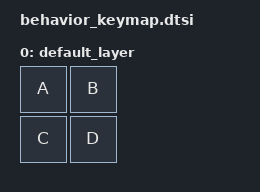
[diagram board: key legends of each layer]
#include <dt-bindings/zmk/keys.h>
#include <behaviors.dtsi>
#include <dt-bindings/zmk/kscan_mock.h>

/ {
    chosen {
        zmk,haptic = &haptic_drv;
    };

    /* Mock I2C bus for DRV2605 */
    test_i2c: test_i2c@1000 {
        compatible = "zephyr,i2c-emul-controller";
        reg = <0x1000 0x100>;
        clock-frequency = <100000>;
        #address-cells = <1>;
        #size-cells = <0>;

        haptic_drv: haptic@5a {
            compatible = "ti,drv2605";
            reg = <0x5a>;
            enable-gpios = <&test_gpio 6 GPIO_ACTIVE_HIGH>;
            library = <6>;  /* LRA library */
            actuator-type = <1>;  /* LRA */
            rated-voltage = <2000>;  /* 2V */
            overdrive-voltage = <2500>;  /* 2.5V */
            auto-calibration;
        };
    };

    test_gpio: gpio@300 {
        compatible = "zephyr,gpio-emul";
        reg = <0x300 4>;
        gpio-controller;
        #gpio-cells = <2>;
        ngpios = <32>;
        status = "okay";
    };

    keymap {
        compatible = "zmk,keymap";

        default_layer {
            bindings = <
                &kp A &kp B
                &kp C &kp D
            >;
        };
    };
};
